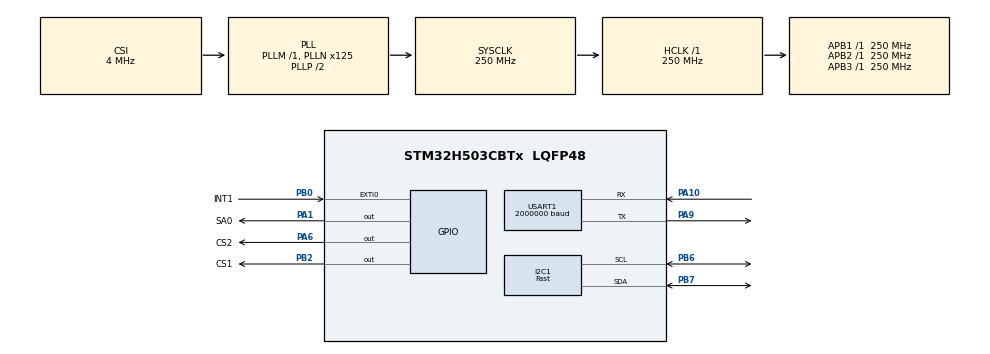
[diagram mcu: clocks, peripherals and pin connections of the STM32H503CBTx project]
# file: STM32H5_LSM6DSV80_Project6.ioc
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CORTEX_M33_NS.Number-Cortex_Memory_Protection_Unit_Region0_OTP_RO_AREAS_Settings=MPU_REGION_NUMBER0
CORTEX_M33_NS.default_mode_Activation=1
I2C1.I2C_Speed_Mode=I2C_Fast
I2C1.Timing=0x10C043E5
Mcu.Family=STM32H5
Mcu.Name=STM32H503CBTx
Mcu.Package=LQFP48
NVIC.EXTI0_IRQn=true\:0\:0\:false\:false\:true\:true\:true\:true
NVIC.PriorityGroup=NVIC_PRIORITYGROUP_4
PA1.GPIO_Label=SA0
PA1.Signal=GPIO_Output
PA10.Mode=Asynchronous
PA10.Signal=USART1_RX
PA6.GPIO_Label=CS2
PA6.Signal=GPIO_Output
PA9.Mode=Asynchronous
PA9.Signal=USART1_TX
PB0.GPIO_Label=INT1
PB0.Signal=GPXTI0
PB2.GPIO_Label=CS1
PB2.Signal=GPIO_Output
PB6.Mode=I2C
PB6.Signal=I2C1_SCL
PB7.Mode=I2C
PB7.Signal=I2C1_SDA
ProjectManager.HeapSize=0x2000
ProjectManager.StackSize=0x4000
ProjectManager.TargetToolchain=MDK-ARM V5.37
RCC.ADCFreq_Value=250000000
RCC.AHBFreq_Value=250000000
RCC.APB1Freq_Value=250000000
RCC.APB1TimFreq_Value=250000000
RCC.APB2Freq_Value=250000000
RCC.APB2TimFreq_Value=250000000
RCC.APB3Freq_Value=250000000
RCC.CSI_VALUE=4000000
RCC.CortexFreq_Value=250000000
RCC.EPOD_VALUE=4000000
RCC.HCLKFreq_Value=250000000
RCC.HSE_VALUE=25000000
RCC.HSI48_VALUE=48000000
RCC.HSI_VALUE=64000000
RCC.LSE_VALUE=32768
RCC.LSIRC_VALUE=32000
RCC.PLL2FRACN=0
RCC.PLLFRACN=0
RCC.PLLN=125
RCC.SYSCLKFreq_VALUE=250000000
RCC.SYSCLKSource=RCC_SYSCLKSOURCE_PLLCLK
RCC.USBFreq_Value=48000000
RCC.VCOOutputFreq_Value=500000000
USART1.BaudRate=2000000
USART1.VirtualMode-Asynchronous=VM_ASYNC
VP_BOOTPATH_VS_BOOTPATH.Mode=BP_Activate
VP_CORTEX_M33_NS_VS_Hclk.Mode=Hclk_Mode
VP_ICACHE_VS_ICACHE.Mode=DirectMappedCache
VP_MEMORYMAP_VS_MEMORYMAP.Mode=CurAppReg
VP_PWR_VS_LPOM.Mode=PowerOptimisation
VP_PWR_VS_SECSignals.Mode=Security/Privilege
board=custom

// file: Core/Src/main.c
/* USER CODE BEGIN Header */
/**
  ******************************************************************************
  * @file           : main.c
  * @brief          : Main program body
  ******************************************************************************
  * @attention
  *
  * Copyright (c) 2026 STMicroelectronics.
  * All rights reserved.
  *
  * This software is licensed under terms that can be found in the LICENSE file
  * in the root directory of this software component.
  * If no LICENSE file comes with this software, it is provided AS-IS.
  *
  ******************************************************************************
  */
/* USER CODE END Header */
#include "main.h"
#include "i2c.h"
#include "icache.h"
#include "usart.h"
#include "gpio.h"

/* USER CODE BEGIN Includes */
#include "stdio.h"
#include "lsm6dsv80x_reg.h"
/* USER CODE END Includes */

void SystemClock_Config(void);
static void MPU_Config(void);
/* USER CODE BEGIN PFP */
int fputc(int ch, FILE *f){
	HAL_UART_Transmit(&huart1 , (uint8_t *)&ch, 1, 0xFFFF);
	return ch;
}
/* USER CODE END PFP */

/* USER CODE BEGIN 0 */
#define SENSOR_BUS hi2c1

/* Private macro -------------------------------------------------------------*/
#define    BOOT_TIME            10 //ms
#define    CNT_FOR_OUTPUT       100

/* Private variables ---------------------------------------------------------*/
static int16_t data_raw_motion[3];
static int16_t data_raw_temperature;
static float_t acceleration_mg[3];
static float_t angular_rate_mdps[3];
static float_t temperature_degC;
static uint8_t whoamI;
static uint8_t tx_buffer[1000];

static lsm6dsv80x_filt_settling_mask_t filt_settling_mask;

/* Extern variables ----------------------------------------------------------*/

/* Private functions ---------------------------------------------------------*/

/*
 *   WARNING:
 *   Functions declare in this section are defined at the end of this file
 *   and are strictly related to the hardware platform used.
 *
 */
static int32_t platform_write(void *handle, uint8_t reg, const uint8_t *bufp,
                              uint16_t len);
static int32_t platform_read(void *handle, uint8_t reg, uint8_t *bufp,
                             uint16_t len);
static void tx_com( uint8_t *tx_buffer, uint16_t len );
static void platform_delay(uint32_t ms);
static void platform_init(void);

static   stmdev_ctx_t dev_ctx;
static volatile uint8_t stap_event_catched = 0;
static volatile uint8_t dtap_event_catched = 0;

static   uint8_t thread_wake = 0;
static lsm6dsv80x_interrupt_mode_t irq;
static lsm6dsv80x_tap_detection_t tap;
static lsm6dsv80x_tap_thresholds_t tap_ths;
static lsm6dsv80x_tap_time_windows_t tap_win;

void HAL_GPIO_EXTI_Rising_Callback(uint16_t GPIO_Pin)
{
  if (GPIO_Pin == INT1_Pin) {
    thread_wake = 1;
  }
}

/* USER CODE END 0 */

int main(void)
{

  /* MCU Configuration--------------------------------------------------------*/

  /* MPU Configuration--------------------------------------------------------*/
  MPU_Config();

  /* Reset of all peripherals, Initializes the Flash interface and the Systick. */
  HAL_Init();

  /* Configure the system clock */
  SystemClock_Config();

  /* Initialize all configured peripherals */
  MX_GPIO_Init();
  MX_I2C1_Init();
  MX_ICACHE_Init();
  MX_USART1_UART_Init();
  /* USER CODE BEGIN 2 */
	printf("HELLO!\n");
  HAL_GPIO_WritePin(CS1_GPIO_Port, CS1_Pin, GPIO_PIN_SET);
  HAL_GPIO_WritePin(SA0_GPIO_Port, SA0_Pin, GPIO_PIN_RESET);
  HAL_GPIO_WritePin(CS2_GPIO_Port, CS2_Pin, GPIO_PIN_SET);
	HAL_Delay(100);

  lsm6dsv80x_pin_int_route_t pin_int = { 0 };
  /* Initialize mems driver interface */
  dev_ctx.write_reg = platform_write;
  dev_ctx.read_reg = platform_read;
  dev_ctx.mdelay = platform_delay;
  dev_ctx.handle = &SENSOR_BUS;

  /* Init test platform */
//  platform_init();

  /* Wait sensor boot time */
  platform_delay(BOOT_TIME);

	/* Check device ID */
  lsm6dsv80x_device_id_get(&dev_ctx, &whoamI);
	printf("LSM6DSV80X_ID=0x%x,whoamI=0x%x",LSM6DSV80X_ID,whoamI);
  if (whoamI != LSM6DSV80X_ID)
    while (1);

	/* Perform device power-on-reset */
  lsm6dsv80x_sw_por(&dev_ctx);

  /* Enable Block Data Update */
  lsm6dsv80x_block_data_update_set(&dev_ctx, PROPERTY_ENABLE);

	pin_int.double_tap = PROPERTY_ENABLE;
  pin_int.single_tap = PROPERTY_ENABLE;
  lsm6dsv80x_pin_int1_route_set(&dev_ctx, &pin_int);

	irq.enable = 1;
  irq.lir = 0;
  lsm6dsv80x_interrupt_enable_set(&dev_ctx, irq);

	tap.tap_z_en = 1;
  lsm6dsv80x_tap_detection_set(&dev_ctx, tap);

	tap_ths.z = 3;
  lsm6dsv80x_tap_thresholds_set(&dev_ctx, tap_ths);

	tap_win.tap_gap = 7;
  tap_win.shock = 3;
  tap_win.quiet = 3;
  lsm6dsv80x_tap_time_windows_set(&dev_ctx, tap_win);

	lsm6dsv80x_tap_mode_set(&dev_ctx, LSM6DSV80X_BOTH_SINGLE_DOUBLE);

	/* Set Output Data Rate.*/
  lsm6dsv80x_xl_setup(&dev_ctx, LSM6DSV80X_ODR_AT_480Hz, LSM6DSV80X_XL_HIGH_PERFORMANCE_MD);
  /* Set full scale */
  lsm6dsv80x_xl_full_scale_set(&dev_ctx, LSM6DSV80X_8g);

  /* USER CODE END 2 */

  /* Infinite loop */
  /* USER CODE BEGIN WHILE */
  while (1)
  {

		if(thread_wake==1)
		{
			thread_wake=0;
			lsm6dsv80x_all_sources_t status;
			/* Read output only if new xl value is available */
			lsm6dsv80x_all_sources_get(&dev_ctx, &status);

			if (status.single_tap) {
				stap_event_catched = 1;
			}
			if (status.double_tap) {
				dtap_event_catched = 1;
			}

			if (stap_event_catched) {
				stap_event_catched = 0;
        printf("Single TAP\r\n");
			}
			if (dtap_event_catched) {
        dtap_event_catched = 0;
        printf("Double TAP\r\n");
			}

		}

    /* USER CODE END WHILE */

  }
}

void SystemClock_Config(void)
{
  RCC_OscInitTypeDef RCC_OscInitStruct = {0};
  RCC_ClkInitTypeDef RCC_ClkInitStruct = {0};

  /** Configure the main internal regulator output voltage
  */
  __HAL_PWR_VOLTAGESCALING_CONFIG(PWR_REGULATOR_VOLTAGE_SCALE0);

  while(!__HAL_PWR_GET_FLAG(PWR_FLAG_VOSRDY)) {}

  /** Initializes the RCC Oscillators according to the specified parameters
  * in the RCC_OscInitTypeDef structure.
  */
  RCC_OscInitStruct.OscillatorType = RCC_OSCILLATORTYPE_CSI;
  RCC_OscInitStruct.CSIState = RCC_CSI_ON;
  RCC_OscInitStruct.CSICalibrationValue = RCC_CSICALIBRATION_DEFAULT;
  RCC_OscInitStruct.PLL.PLLState = RCC_PLL_ON;
  RCC_OscInitStruct.PLL.PLLSource = RCC_PLL1_SOURCE_CSI;
  RCC_OscInitStruct.PLL.PLLM = 1;
  RCC_OscInitStruct.PLL.PLLN = 125;
  RCC_OscInitStruct.PLL.PLLP = 2;
  RCC_OscInitStruct.PLL.PLLQ = 2;
  RCC_OscInitStruct.PLL.PLLR = 2;
  RCC_OscInitStruct.PLL.PLLRGE = RCC_PLL1_VCIRANGE_2;
  RCC_OscInitStruct.PLL.PLLVCOSEL = RCC_PLL1_VCORANGE_WIDE;
  RCC_OscInitStruct.PLL.PLLFRACN = 0;
  if (HAL_RCC_OscConfig(&RCC_OscInitStruct) != HAL_OK)
  {
    Error_Handler();
  }

  /** Initializes the CPU, AHB and APB buses clocks
  */
  RCC_ClkInitStruct.ClockType = RCC_CLOCKTYPE_HCLK|RCC_CLOCKTYPE_SYSCLK
                              |RCC_CLOCKTYPE_PCLK1|RCC_CLOCKTYPE_PCLK2
                              |RCC_CLOCKTYPE_PCLK3;
  RCC_ClkInitStruct.SYSCLKSource = RCC_SYSCLKSOURCE_PLLCLK;
  RCC_ClkInitStruct.AHBCLKDivider = RCC_SYSCLK_DIV1;
  RCC_ClkInitStruct.APB1CLKDivider = RCC_HCLK_DIV1;
  RCC_ClkInitStruct.APB2CLKDivider = RCC_HCLK_DIV1;
  RCC_ClkInitStruct.APB3CLKDivider = RCC_HCLK_DIV1;

  if (HAL_RCC_ClockConfig(&RCC_ClkInitStruct, FLASH_LATENCY_5) != HAL_OK)
  {
    Error_Handler();
  }

  /** Configure the programming delay
  */
  __HAL_FLASH_SET_PROGRAM_DELAY(FLASH_PROGRAMMING_DELAY_2);
}

/* USER CODE BEGIN 4 */
/*
 * @brief  Write generic device register (platform dependent)
 *
 * @param  handle    customizable argument. In this examples is used in
 *                   order to select the correct sensor bus handler.
 * @param  reg       register to write
 * @param  bufp      pointer to data to write in register reg
 * @param  len       number of consecutive register to write
 *
 */
static int32_t platform_write(void *handle, uint8_t reg, const uint8_t *bufp,
                              uint16_t len)
{
  HAL_I2C_Mem_Write(handle, LSM6DSV80X_I2C_ADD_L, reg,
                    I2C_MEMADD_SIZE_8BIT, (uint8_t*) bufp, len, 1000);
  return 0;
}

/*
 * @brief  Read generic device register (platform dependent)
 *
 * @param  handle    customizable argument. In this examples is used in
 *                   order to select the correct sensor bus handler.
 * @param  reg       register to read
 * @param  bufp      pointer to buffer that store the data read
 * @param  len       number of consecutive register to read
 *
 */
static int32_t platform_read(void *handle, uint8_t reg, uint8_t *bufp,
                             uint16_t len)
{
  HAL_I2C_Mem_Read(handle, LSM6DSV80X_I2C_ADD_L, reg,
                   I2C_MEMADD_SIZE_8BIT, bufp, len, 1000);
  return 0;
}

/*
 * @brief  platform specific delay (platform dependent)
 *
 * @param  ms        delay in ms
 *
 */
static void platform_delay(uint32_t ms)
{
  HAL_Delay(ms);
}
/* USER CODE END 4 */

 /* MPU Configuration */

void MPU_Config(void)
{
  MPU_Region_InitTypeDef MPU_InitStruct = {0};
  MPU_Attributes_InitTypeDef MPU_AttributesInit = {0};

  /* Disables the MPU */
  HAL_MPU_Disable();

  /** Initializes and configures the Region 0 and the memory to be protected
  */
  MPU_InitStruct.Enable = MPU_REGION_ENABLE;
  MPU_InitStruct.Number = MPU_REGION_NUMBER0;
  MPU_InitStruct.BaseAddress = 0x08FFF000;
  MPU_InitStruct.LimitAddress = 0x08FFFFFF;
  MPU_InitStruct.AttributesIndex = MPU_ATTRIBUTES_NUMBER0;
  MPU_InitStruct.AccessPermission = MPU_REGION_ALL_RO;
  MPU_InitStruct.DisableExec = MPU_INSTRUCTION_ACCESS_DISABLE;
  MPU_InitStruct.IsShareable = MPU_ACCESS_NOT_SHAREABLE;

  HAL_MPU_ConfigRegion(&MPU_InitStruct);

  /** Initializes and configures the Attribute 0 and the memory to be protected
  */
  MPU_AttributesInit.Number = MPU_ATTRIBUTES_NUMBER0;
  MPU_AttributesInit.Attributes = INNER_OUTER(MPU_NOT_CACHEABLE);

  HAL_MPU_ConfigMemoryAttributes(&MPU_AttributesInit);
  /* Enables the MPU */
  HAL_MPU_Enable(MPU_PRIVILEGED_DEFAULT);

}

void Error_Handler(void)
{
  __disable_irq();
  while (1)
  {
  }
}
